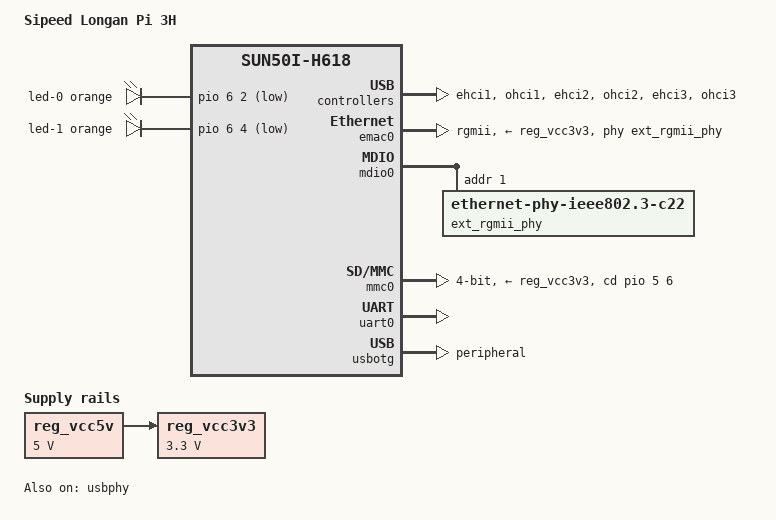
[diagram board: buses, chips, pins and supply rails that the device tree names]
// SPDX-License-Identifier: (GPL-2.0+ OR MIT)
/*
 * Copyright (C) Jisheng Zhang <jszhang@kernel.org>
 */

/dts-v1/;

#include "sun50i-h618-longan-module-3h.dtsi"

#include <dt-bindings/gpio/gpio.h>
#include <dt-bindings/interrupt-controller/arm-gic.h>
#include <dt-bindings/leds/common.h>

/ {
	model = "Sipeed Longan Pi 3H";
	compatible = "sipeed,longan-pi-3h", "sipeed,longan-module-3h", "allwinner,sun50i-h618";

	aliases {
		ethernet0 = &emac0;
		serial0 = &uart0;
	};

	chosen {
		stdout-path = "serial0:115200n8";
	};

	leds {
		compatible = "gpio-leds";

		led-0 {
			color = <LED_COLOR_ID_ORANGE>;
			function = LED_FUNCTION_INDICATOR;
			function-enumerator = <0>;
			gpios = <&pio 6 2 GPIO_ACTIVE_LOW>; /* PG2 */
		};

		led-1 {
			color = <LED_COLOR_ID_ORANGE>;
			function = LED_FUNCTION_INDICATOR;
			function-enumerator = <1>;
			gpios = <&pio 6 4 GPIO_ACTIVE_LOW>; /* PG4 */
		};
	};

	reg_vcc5v: regulator-vcc5v {
		/* board wide 5V supply directly from the USB-C socket */
		compatible = "regulator-fixed";
		regulator-name = "vcc-5v";
		regulator-min-microvolt = <5000000>;
		regulator-max-microvolt = <5000000>;
		regulator-always-on;
	};

	reg_vcc3v3: regulator-vcc3v3 {
		compatible = "regulator-fixed";
		regulator-name = "vcc-3v3";
		regulator-min-microvolt = <3300000>;
		regulator-max-microvolt = <3300000>;
		regulator-always-on;
		vin-supply = <&reg_vcc5v>;
	};
};

&axp313 {
	vin1-supply = <&reg_vcc5v>;
	vin2-supply = <&reg_vcc5v>;
	vin3-supply = <&reg_vcc5v>;
};

&ehci1 {
	status = "okay";
};

&ohci1 {
	status = "okay";
};

&ehci2 {
	status = "okay";
};

&ohci2 {
	status = "okay";
};

/* WiFi & BT combo module is connected to this Host */
&ehci3 {
	status = "okay";
};

&ohci3 {
	status = "okay";
};

&emac0 {
	pinctrl-names = "default";
	pinctrl-0 = <&ext_rgmii_pins>;
	phy-mode = "rgmii";
	phy-handle = <&ext_rgmii_phy>;
	allwinner,rx-delay-ps = <3100>;
	allwinner,tx-delay-ps = <700>;
	phy-supply = <&reg_vcc3v3>;
	status = "okay";
};

&mdio0 {
	ext_rgmii_phy: ethernet-phy@1 {
		compatible = "ethernet-phy-ieee802.3-c22";
		reg = <1>;
	};
};

&mmc0 {
	disable-wp;
	bus-width = <4>;
	cd-gpios = <&pio 5 6 GPIO_ACTIVE_HIGH>;	/* PF6 */
	vmmc-supply = <&reg_vcc3v3>;
	status = "okay";
};

&uart0 {
	status = "okay";
};

&usbotg {
	/*
	 * PHY0 pins are connected to a USB-C socket, but a role switch
	 * is not implemented: both CC pins are pulled to GND.
	 * The VBUS pins power the device, so a fixed peripheral mode
	 * is the best choice.
	 * The board can be powered via GPIOs, in this case port0 *can*
	 * act as a host (with a cable/adapter ignoring CC), as VBUS is
	 * then provided by the GPIOs. Any user of this setup would
	 * need to adjust the DT accordingly: dr_mode set to "host",
	 * enabling OHCI0 and EHCI0.
	 */
	dr_mode = "peripheral";
	status = "okay";
};

&usbphy {
	usb1_vbus-supply = <&reg_vcc5v>;
	usb2_vbus-supply = <&reg_vcc5v>;
	status = "okay";
};
